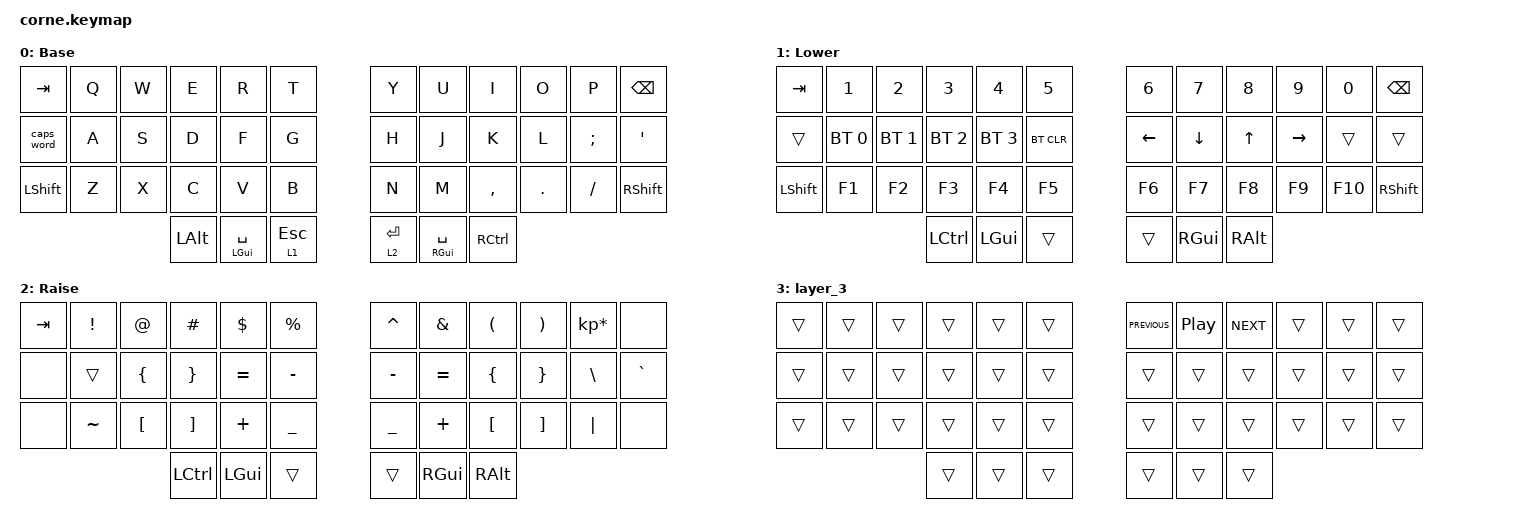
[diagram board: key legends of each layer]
/*
 * Copyright (c) 2020 The ZMK Contributors
 *
 * SPDX-License-Identifier: MIT
 */

#include <behaviors.dtsi>
#include <dt-bindings/zmk/bt.h>
#include <dt-bindings/zmk/keys.h>

/ {
    combos {
        compatible = "zmk,combos";

        combo_esc_jj {
            bindings = <&kp ESC>;
            key-positions = <19 20>;
        };

        combo_layer_3 {
            bindings = <&sl 3>;
            key-positions = <38 39>;
        };
    };

    keymap {
        compatible = "zmk,keymap";

        default_layer {
            // -----------------------------------------------------------------------------------------
            // |  TAB |  Q  |  W  |  E  |  R  |  T  |   |  Y  |  U   |  I  |  O  |  P  | BKSP |
            // | CTRL |  A  |  S  |  D  |  F  |  G  |   |  H  |  J   |  K  |  L  |  ;  |  '   |
            // | SHFT |  Z  |  X  |  C  |  V  |  B  |   |  N  |  M   |  ,  |  .  |  /  | ESC  |
            //                    | GUI | LWR | SPC |   | ENT | RSE  | ALT |

            display-name = "Base";
            bindings = <
&kp TAB     &kp Q  &kp W  &kp E         &kp R           &kp T           &kp Y        &kp U           &kp I              &kp O    &kp P     &kp BSPC
&caps_word  &kp A  &kp S  &kp D         &kp F           &kp G           &kp H        &kp J           &kp K              &kp L    &kp SEMI  &kp SQT
&kp LSHFT   &kp Z  &kp X  &kp C         &kp V           &kp B           &kp N        &kp M           &kp COMMA          &kp DOT  &kp FSLH  &kp RIGHT_SHIFT
                          &kp LEFT_ALT  &mt LGUI SPACE  &lt 1 ESCAPE    &lt 2 ENTER  &mt RGUI SPACE  &kp RIGHT_CONTROL
            >;
        };

        lower_layer {
            // -----------------------------------------------------------------------------------------
            // |  TAB |  1  |  2  |  3  |  4  |  5  |   |  6  |  7  |  8  |  9  |  0  | BKSP |
            // | BTCLR| BT1 | BT2 | BT3 | BT4 | BT5 |   | LFT | DWN |  UP | RGT |     |      |
            // | SHFT |     |     |     |     |     |   |     |     |     |     |     |      |
            //                    | GUI |     | SPC |   | ENT |     | ALT |

            display-name = "Lower";
            bindings = <
&kp TAB         &kp N1        &kp N2        &kp N3            &kp N4        &kp N5        &kp N6    &kp N7    &kp N8    &kp N9     &kp N0   &kp BSPC
&trans          &bt BT_SEL 0  &bt BT_SEL 1  &bt BT_SEL 2      &bt BT_SEL 3  &bt BT_CLR    &kp LEFT  &kp DOWN  &kp UP    &kp RIGHT  &trans   &trans
&kp LEFT_SHIFT  &kp F1        &kp F2        &kp F3            &kp F4        &kp F5        &kp F6    &kp F7    &kp F8    &kp F9     &kp F10  &kp RIGHT_SHIFT
                                            &kp LEFT_CONTROL  &kp LGUI      &trans        &trans    &kp RGUI  &kp RALT
            >;
        };

        raise_layer {
            // -----------------------------------------------------------------------------------------
            // |  TAB |  !  |  @  |  #  |  $  |  %  |   |  ^  |  &  |  *  |  (  |  )  | BKSP |
            // | CTRL |     |     |     |     |     |   |  -  |  =  |  [  |  ]  |  \  |  `   |
            // | SHFT |     |     |     |     |     |   |  _  |  +  |  {  |  }  | "|" |  ~   |
            //                    | GUI |     | SPC |   | ENT |     | ALT |

            display-name = "Raise";
            bindings = <
&kp TAB  &kp EXCL   &kp AT            &kp HASH           &kp DLLR   &kp PRCNT    &kp CARET  &kp AMPS   &kp LPAR  &kp RPAR  &kp KP_MULTIPLY  &none
&none    &trans     &kp LEFT_BRACE    &kp RIGHT_BRACE    &kp EQUAL  &kp MINUS    &kp MINUS  &kp EQUAL  &kp LBRC  &kp RBRC  &kp BSLH         &kp GRAVE
&none    &kp TILDE  &kp LEFT_BRACKET  &kp RIGHT_BRACKET  &kp PLUS   &kp UNDER    &kp UNDER  &kp PLUS   &kp LBKT  &kp RBKT  &kp PIPE         &none
                                      &kp LEFT_CONTROL   &kp LGUI   &trans       &trans     &kp RGUI   &kp RALT
            >;
        };

        layer_3 {
            bindings = <
&trans  &trans  &trans  &trans  &trans  &trans    &kp C_PREVIOUS  &kp C_PLAY_PAUSE  &kp C_NEXT  &trans  &trans  &trans
&trans  &trans  &trans  &trans  &trans  &trans    &trans          &trans            &trans      &trans  &trans  &trans
&trans  &trans  &trans  &trans  &trans  &trans    &trans          &trans            &trans      &trans  &trans  &trans
                        &trans  &trans  &trans    &trans          &trans            &trans
            >;
        };
    };
};
